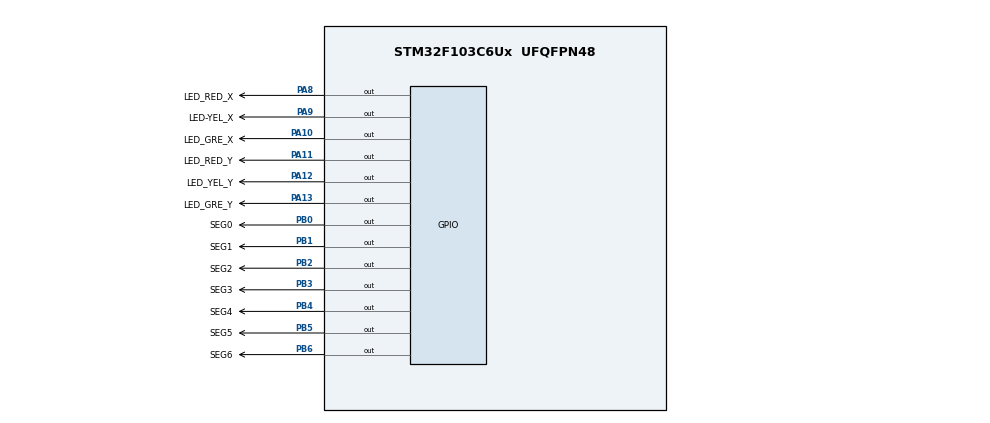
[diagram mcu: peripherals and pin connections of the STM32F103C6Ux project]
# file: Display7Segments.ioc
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Mcu.Family=STM32F1
Mcu.Name=STM32F103C6Ux
Mcu.Package=UFQFPN48
NVIC.PriorityGroup=NVIC_PRIORITYGROUP_4
PA10.GPIO_Label=LED_GRE_X
PA10.Signal=GPIO_Output
PA11.GPIO_Label=LED_RED_Y
PA11.Signal=GPIO_Output
PA12.GPIO_Label=LED_YEL_Y
PA12.Signal=GPIO_Output
PA13.GPIO_Label=LED_GRE_Y
PA13.Signal=GPIO_Output
PA8.GPIO_Label=LED_RED_X
PA8.Signal=GPIO_Output
PA9.GPIO_Label=LED-YEL_X
PA9.Signal=GPIO_Output
PB0.GPIO_Label=SEG0
PB0.Signal=GPIO_Output
PB1.GPIO_Label=SEG1
PB1.Signal=GPIO_Output
PB2.GPIO_Label=SEG2
PB2.Signal=GPIO_Output
PB3.GPIO_Label=SEG3
PB3.Signal=GPIO_Output
PB4.GPIO_Label=SEG4
PB4.Signal=GPIO_Output
PB5.GPIO_Label=SEG5
PB5.Signal=GPIO_Output
PB6.GPIO_Label=SEG6
PB6.Signal=GPIO_Output
ProjectManager.HeapSize=0x200
ProjectManager.StackSize=0x400
ProjectManager.TargetToolchain=STM32CubeIDE
RCC.APB1Freq_Value=8000000
RCC.APB2Freq_Value=8000000
VP_SYS_VS_ND.Mode=No_Debug
board=custom

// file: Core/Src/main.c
/* USER CODE BEGIN Header */
/**
  ******************************************************************************
  * @file           : main.c
  * @brief          : Main program body
  ******************************************************************************
  * @attention
  *
  * <h2><center>&copy; Copyright (c) 2025 STMicroelectronics.
  * All rights reserved.</center></h2>
  *
  * This software component is licensed by ST under BSD 3-Clause license,
  * the "License"; You may not use this file except in compliance with the
  * License. You may obtain a copy of the License at:
  *                        opensource.org/licenses/BSD-3-Clause
  *
  ******************************************************************************
  */
/* USER CODE END Header */
#include "main.h"

void SystemClock_Config(void);
static void MX_GPIO_Init(void);

/* USER CODE BEGIN 0 */
void display7SEG(int num)
{
	switch (num)
	{
		case 0:
			  HAL_GPIO_WritePin(SEG0_GPIO_Port, SEG0_Pin, RESET);
			  HAL_GPIO_WritePin(SEG1_GPIO_Port, SEG1_Pin, RESET);
			  HAL_GPIO_WritePin(SEG2_GPIO_Port, SEG2_Pin, RESET);
			  HAL_GPIO_WritePin(SEG3_GPIO_Port, SEG3_Pin, RESET);
			  HAL_GPIO_WritePin(SEG4_GPIO_Port, SEG4_Pin, RESET);
			  HAL_GPIO_WritePin(SEG5_GPIO_Port, SEG5_Pin, RESET);
			  HAL_GPIO_WritePin(SEG6_GPIO_Port, SEG6_Pin, SET);
			  break;
		case 1:
			  HAL_GPIO_WritePin(SEG0_GPIO_Port, SEG0_Pin, SET);
			  HAL_GPIO_WritePin(SEG1_GPIO_Port, SEG1_Pin, RESET);
			  HAL_GPIO_WritePin(SEG2_GPIO_Port, SEG2_Pin, RESET);
			  HAL_GPIO_WritePin(SEG3_GPIO_Port, SEG3_Pin, SET);
			  HAL_GPIO_WritePin(SEG4_GPIO_Port, SEG4_Pin, SET);
			  HAL_GPIO_WritePin(SEG5_GPIO_Port, SEG5_Pin, SET);
			  HAL_GPIO_WritePin(SEG6_GPIO_Port, SEG6_Pin, SET);
			  break;
		case 2:
			  HAL_GPIO_WritePin(SEG0_GPIO_Port, SEG0_Pin, RESET);
			  HAL_GPIO_WritePin(SEG1_GPIO_Port, SEG1_Pin, RESET);
			  HAL_GPIO_WritePin(SEG2_GPIO_Port, SEG2_Pin, SET);
			  HAL_GPIO_WritePin(SEG3_GPIO_Port, SEG3_Pin, RESET);
			  HAL_GPIO_WritePin(SEG4_GPIO_Port, SEG4_Pin, RESET);
			  HAL_GPIO_WritePin(SEG5_GPIO_Port, SEG5_Pin, SET);
			  HAL_GPIO_WritePin(SEG6_GPIO_Port, SEG6_Pin, RESET);
			  break;
		case 3:
			  HAL_GPIO_WritePin(SEG0_GPIO_Port, SEG0_Pin, RESET);
			  HAL_GPIO_WritePin(SEG1_GPIO_Port, SEG1_Pin, RESET);
			  HAL_GPIO_WritePin(SEG2_GPIO_Port, SEG2_Pin, RESET);
			  HAL_GPIO_WritePin(SEG3_GPIO_Port, SEG3_Pin, RESET);
			  HAL_GPIO_WritePin(SEG4_GPIO_Port, SEG4_Pin, SET);
			  HAL_GPIO_WritePin(SEG5_GPIO_Port, SEG5_Pin, SET);
			  HAL_GPIO_WritePin(SEG6_GPIO_Port, SEG6_Pin, RESET);
			  break;
		case 4:
			  HAL_GPIO_WritePin(SEG0_GPIO_Port, SEG0_Pin, SET);
			  HAL_GPIO_WritePin(SEG1_GPIO_Port, SEG1_Pin, RESET);
			  HAL_GPIO_WritePin(SEG2_GPIO_Port, SEG2_Pin, RESET);
			  HAL_GPIO_WritePin(SEG3_GPIO_Port, SEG3_Pin, SET);
			  HAL_GPIO_WritePin(SEG4_GPIO_Port, SEG4_Pin, SET);
			  HAL_GPIO_WritePin(SEG5_GPIO_Port, SEG5_Pin, RESET);
			  HAL_GPIO_WritePin(SEG6_GPIO_Port, SEG6_Pin, RESET);
			  break;
		case 5:
			  HAL_GPIO_WritePin(SEG0_GPIO_Port, SEG0_Pin, RESET);
			  HAL_GPIO_WritePin(SEG1_GPIO_Port, SEG1_Pin, SET);
			  HAL_GPIO_WritePin(SEG2_GPIO_Port, SEG2_Pin, RESET);
			  HAL_GPIO_WritePin(SEG3_GPIO_Port, SEG3_Pin, RESET);
			  HAL_GPIO_WritePin(SEG4_GPIO_Port, SEG4_Pin, SET);
			  HAL_GPIO_WritePin(SEG5_GPIO_Port, SEG5_Pin, RESET);
			  HAL_GPIO_WritePin(SEG6_GPIO_Port, SEG6_Pin, RESET);
			  break;
		case 6:
			  HAL_GPIO_WritePin(SEG0_GPIO_Port, SEG0_Pin, RESET);
			  HAL_GPIO_WritePin(SEG1_GPIO_Port, SEG1_Pin, SET);
			  HAL_GPIO_WritePin(SEG2_GPIO_Port, SEG2_Pin, RESET);
			  HAL_GPIO_WritePin(SEG3_GPIO_Port, SEG3_Pin, RESET);
			  HAL_GPIO_WritePin(SEG4_GPIO_Port, SEG4_Pin, RESET);
			  HAL_GPIO_WritePin(SEG5_GPIO_Port, SEG5_Pin, RESET);
			  HAL_GPIO_WritePin(SEG6_GPIO_Port, SEG6_Pin, RESET);
			  break;
		case 7:
			  HAL_GPIO_WritePin(SEG0_GPIO_Port, SEG0_Pin, RESET);
			  HAL_GPIO_WritePin(SEG1_GPIO_Port, SEG1_Pin, RESET);
			  HAL_GPIO_WritePin(SEG2_GPIO_Port, SEG2_Pin, RESET);
			  HAL_GPIO_WritePin(SEG3_GPIO_Port, SEG3_Pin, SET);
			  HAL_GPIO_WritePin(SEG4_GPIO_Port, SEG4_Pin, SET);
			  HAL_GPIO_WritePin(SEG5_GPIO_Port, SEG5_Pin, SET);
			  HAL_GPIO_WritePin(SEG6_GPIO_Port, SEG6_Pin, SET);
			  break;
		case 8:
			  HAL_GPIO_WritePin(SEG0_GPIO_Port, SEG0_Pin, RESET);
			  HAL_GPIO_WritePin(SEG1_GPIO_Port, SEG1_Pin, RESET);
			  HAL_GPIO_WritePin(SEG2_GPIO_Port, SEG2_Pin, RESET);
			  HAL_GPIO_WritePin(SEG3_GPIO_Port, SEG3_Pin, RESET);
			  HAL_GPIO_WritePin(SEG4_GPIO_Port, SEG4_Pin, RESET);
			  HAL_GPIO_WritePin(SEG5_GPIO_Port, SEG5_Pin, RESET);
			  HAL_GPIO_WritePin(SEG6_GPIO_Port, SEG6_Pin, RESET);
			  break;
		case 9:
			  HAL_GPIO_WritePin(SEG0_GPIO_Port, SEG0_Pin, RESET);
			  HAL_GPIO_WritePin(SEG1_GPIO_Port, SEG1_Pin, RESET);
			  HAL_GPIO_WritePin(SEG2_GPIO_Port, SEG2_Pin, RESET);
			  HAL_GPIO_WritePin(SEG3_GPIO_Port, SEG3_Pin, RESET);
			  HAL_GPIO_WritePin(SEG4_GPIO_Port, SEG4_Pin, SET);
			  HAL_GPIO_WritePin(SEG5_GPIO_Port, SEG5_Pin, RESET);
			  HAL_GPIO_WritePin(SEG6_GPIO_Port, SEG6_Pin, RESET);
			  break;
		default:
				break;
	}

}
/* USER CODE END 0 */

int main(void)
{

  /* MCU Configuration--------------------------------------------------------*/

  /* Reset of all peripherals, Initializes the Flash interface and the Systick. */
  HAL_Init();

  /* Configure the system clock */
  SystemClock_Config();

  /* Initialize all configured peripherals */
  MX_GPIO_Init();

  /* Infinite loop */
  /* USER CODE BEGIN WHILE */
  int vredTR = 5, vgreTR = 3, vyelTR = 2;
  int hredTR = 5, hgreTR = 3, hyelTR = 2;
  while (1)
  {
	  if (vredTR > 0)
	  {
		  HAL_GPIO_WritePin(LED_RED_Y_GPIO_Port, LED_RED_Y_Pin, SET);
		  HAL_GPIO_WritePin(LED_YEL_Y_GPIO_Port, LED_YEL_Y_Pin, RESET);
		  HAL_GPIO_WritePin(LED_GRE_Y_GPIO_Port, LED_GRE_Y_Pin, RESET);
		  HAL_GPIO_WritePin(LED_RED_X_GPIO_Port, LED_RED_X_Pin, RESET);
		  HAL_GPIO_WritePin(LED_YEL_X_GPIO_Port, LED_YEL_X_Pin, RESET);
		  HAL_GPIO_WritePin(LED_GRE_X_GPIO_Port, LED_GRE_X_Pin, SET);
		  display7SEG(vredTR--);
		  hgreTR--;
		  if (hgreTR < 0)
		  {
			  hyelTR--;
			  HAL_GPIO_WritePin(LED_RED_X_GPIO_Port, LED_RED_X_Pin, RESET);
			  HAL_GPIO_WritePin(LED_YEL_X_GPIO_Port, LED_YEL_X_Pin, SET);
			  HAL_GPIO_WritePin(LED_GRE_X_GPIO_Port, LED_GRE_X_Pin, RESET);
		  }
	  }
	  else if (vgreTR > 0)
	  {
		  HAL_GPIO_WritePin(LED_RED_X_GPIO_Port, LED_RED_X_Pin, SET);
		  HAL_GPIO_WritePin(LED_YEL_X_GPIO_Port, LED_YEL_X_Pin, RESET);
		  HAL_GPIO_WritePin(LED_GRE_X_GPIO_Port, LED_GRE_X_Pin, RESET);
		  HAL_GPIO_WritePin(LED_RED_Y_GPIO_Port, LED_RED_Y_Pin, RESET);
		  HAL_GPIO_WritePin(LED_YEL_Y_GPIO_Port, LED_YEL_Y_Pin, RESET);
		  HAL_GPIO_WritePin(LED_GRE_Y_GPIO_Port, LED_GRE_Y_Pin, SET);
		  display7SEG(vgreTR--);
		  hredTR--;
	  } else {
		  HAL_GPIO_WritePin(LED_RED_Y_GPIO_Port, LED_RED_Y_Pin, RESET);
		  HAL_GPIO_WritePin(LED_YEL_Y_GPIO_Port, LED_YEL_Y_Pin, SET);
		  HAL_GPIO_WritePin(LED_GRE_Y_GPIO_Port, LED_GRE_Y_Pin, RESET);
		  display7SEG(vyelTR--);
		  hredTR--;
	  }
	  if (hredTR <= 0)
	  {
		  vredTR = 5;
		  vyelTR = 2;
		  vgreTR = 3;
		  hredTR = 5;
		  hyelTR = 2;
		  hgreTR = 3;
	  }
	  HAL_Delay(1000);
    /* USER CODE END WHILE */

  }
}

void SystemClock_Config(void)
{
  RCC_OscInitTypeDef RCC_OscInitStruct = {0};
  RCC_ClkInitTypeDef RCC_ClkInitStruct = {0};

  /** Initializes the RCC Oscillators according to the specified parameters
  * in the RCC_OscInitTypeDef structure.
  */
  RCC_OscInitStruct.OscillatorType = RCC_OSCILLATORTYPE_HSI;
  RCC_OscInitStruct.HSIState = RCC_HSI_ON;
  RCC_OscInitStruct.HSICalibrationValue = RCC_HSICALIBRATION_DEFAULT;
  RCC_OscInitStruct.PLL.PLLState = RCC_PLL_NONE;
  if (HAL_RCC_OscConfig(&RCC_OscInitStruct) != HAL_OK)
  {
    Error_Handler();
  }
  /** Initializes the CPU, AHB and APB buses clocks
  */
  RCC_ClkInitStruct.ClockType = RCC_CLOCKTYPE_HCLK|RCC_CLOCKTYPE_SYSCLK
                              |RCC_CLOCKTYPE_PCLK1|RCC_CLOCKTYPE_PCLK2;
  RCC_ClkInitStruct.SYSCLKSource = RCC_SYSCLKSOURCE_HSI;
  RCC_ClkInitStruct.AHBCLKDivider = RCC_SYSCLK_DIV1;
  RCC_ClkInitStruct.APB1CLKDivider = RCC_HCLK_DIV1;
  RCC_ClkInitStruct.APB2CLKDivider = RCC_HCLK_DIV1;

  if (HAL_RCC_ClockConfig(&RCC_ClkInitStruct, FLASH_LATENCY_0) != HAL_OK)
  {
    Error_Handler();
  }
}

static void MX_GPIO_Init(void)
{
  GPIO_InitTypeDef GPIO_InitStruct = {0};

  /* GPIO Ports Clock Enable */
  __HAL_RCC_GPIOB_CLK_ENABLE();
  __HAL_RCC_GPIOA_CLK_ENABLE();

  /*Configure GPIO pin Output Level */
  HAL_GPIO_WritePin(GPIOB, SEG0_Pin|SEG1_Pin|SEG2_Pin|SEG3_Pin
                          |SEG4_Pin|SEG5_Pin|SEG6_Pin, GPIO_PIN_RESET);

  /*Configure GPIO pin Output Level */
  HAL_GPIO_WritePin(GPIOA, LED_RED_X_Pin|LED_YEL_X_Pin|LED_GRE_X_Pin|LED_RED_Y_Pin
                          |LED_YEL_Y_Pin|LED_GRE_Y_Pin, GPIO_PIN_RESET);

  /*Configure GPIO pins : SEG0_Pin SEG1_Pin SEG2_Pin SEG3_Pin
                           SEG4_Pin SEG5_Pin SEG6_Pin */
  GPIO_InitStruct.Pin = SEG0_Pin|SEG1_Pin|SEG2_Pin|SEG3_Pin
                          |SEG4_Pin|SEG5_Pin|SEG6_Pin;
  GPIO_InitStruct.Mode = GPIO_MODE_OUTPUT_PP;
  GPIO_InitStruct.Pull = GPIO_NOPULL;
  GPIO_InitStruct.Speed = GPIO_SPEED_FREQ_LOW;
  HAL_GPIO_Init(GPIOB, &GPIO_InitStruct);

  /*Configure GPIO pins : LED_RED_X_Pin LED_YEL_X_Pin LED_GRE_X_Pin LED_RED_Y_Pin
                           LED_YEL_Y_Pin LED_GRE_Y_Pin */
  GPIO_InitStruct.Pin = LED_RED_X_Pin|LED_YEL_X_Pin|LED_GRE_X_Pin|LED_RED_Y_Pin
                          |LED_YEL_Y_Pin|LED_GRE_Y_Pin;
  GPIO_InitStruct.Mode = GPIO_MODE_OUTPUT_PP;
  GPIO_InitStruct.Pull = GPIO_NOPULL;
  GPIO_InitStruct.Speed = GPIO_SPEED_FREQ_LOW;
  HAL_GPIO_Init(GPIOA, &GPIO_InitStruct);

}

void Error_Handler(void)
{
  __disable_irq();
  while (1)
  {
  }
}

/************************ (C) COPYRIGHT STMicroelectronics *****END OF FILE****/
